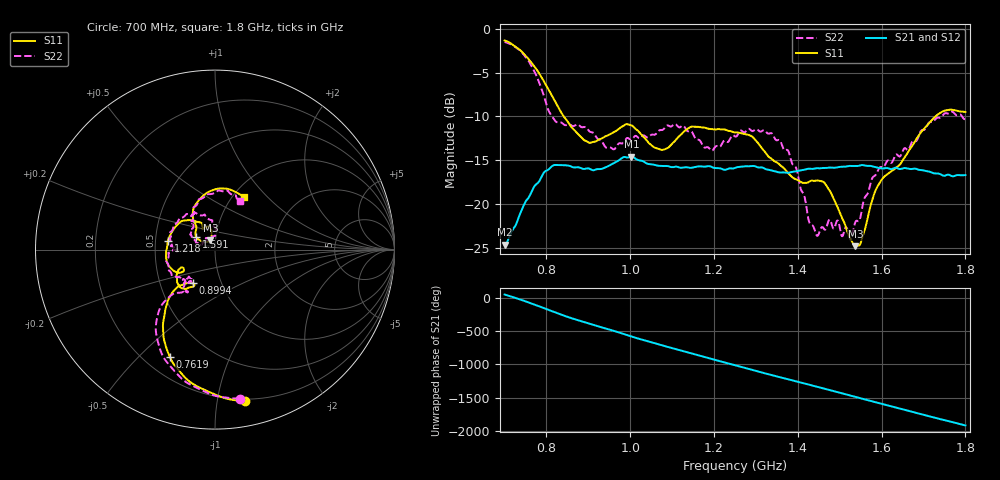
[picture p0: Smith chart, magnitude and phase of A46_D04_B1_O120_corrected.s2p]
! Created with skrf 1.9.0 (http://scikit-rf.org).
# Hz S RI R 50.0
!freq ReS11 ImS11 ReS21 ImS21 ReS12 ImS12 ReS22 ImS22
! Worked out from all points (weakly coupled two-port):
!   1601 points, 700 MHz to 1.8 GHz, reference 50 ohm
!   highest |S21| = -14.60 dB at 1.002 GHz (marker M1); lowest = -24.6 dB at 700 MHz (marker M2)
!   lowest |S11| = -24.8 dB at 1.537 GHz (marker M3), VSWR 1.12, Z = 47.3 + j4.89 ohm
!   |S11| at or under -10 dB: 841 MHz to 1.729 GHz (887.5 MHz wide, 69.1 % of centre)
!   |S22| runs from -24.1 to -1.5 dB; largest |S21 - S12| = 0.0033
!   S11 on the Smith chart (normalised r, x): 700 MHz: 0.19, -1.20; 761.9 MHz: 0.30, -0.62; 899.4 MHz: 0.73, -0.29; 1.218 GHz: 0.58, +0.06; 1.591 GHz: 0.80, +0.12; 1.8 GHz: 1.13, +0.75
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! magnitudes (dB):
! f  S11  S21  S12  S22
! 700 MHz  -1.3  -24.6  -24.4  -1.5
! 761.9 MHz  -3.8  -18.9  -18.8  -4.1
! 818.9 MHz  -8.1  -15.5  -15.7  -10.4
! 883.6 MHz  -12.4  -15.9  -15.8  -11.2
! 899.4 MHz  -12.9  -15.9  -16.0  -11.6
! 957.8 MHz  -11.9  -15.4  -15.4  -13.7
! 1.002 GHz  -11.0  -14.6  -14.7  -12.7
! 1.067 GHz  -13.7  -15.6  -15.6  -11.7
! 1.144 GHz  -11.2  -15.9  -15.9  -11.7
! 1.218 GHz  -11.5  -16.0  -16.0  -13.2
! 1.25 GHz  -11.8  -15.9  -15.8  -12.3
! 1.357 GHz  -15.5  -16.4  -16.3  -12.8
! 1.396 GHz  -17.2  -16.3  -16.3  -15.9
! 1.434 GHz  -17.3  -16.0  -16.0  -22.4
! 1.469 GHz  -18.0  -15.9  -15.9  -22.5
! 1.526 GHz  -24.0  -15.7  -15.6  -24.1
! 1.537 GHz  -24.8  -15.7  -15.7  -22.1
! 1.552 GHz  -24.2  -15.6  -15.6  -20.9
! 1.591 GHz  -17.9  -15.9  -15.8  -16.2
! 1.617 GHz  -16.5  -15.9  -15.9  -15.1
! 1.732 GHz  -9.9  -16.5  -16.5  -10.2
! 1.8 GHz  -9.5  -16.7  -16.7  -10.3
